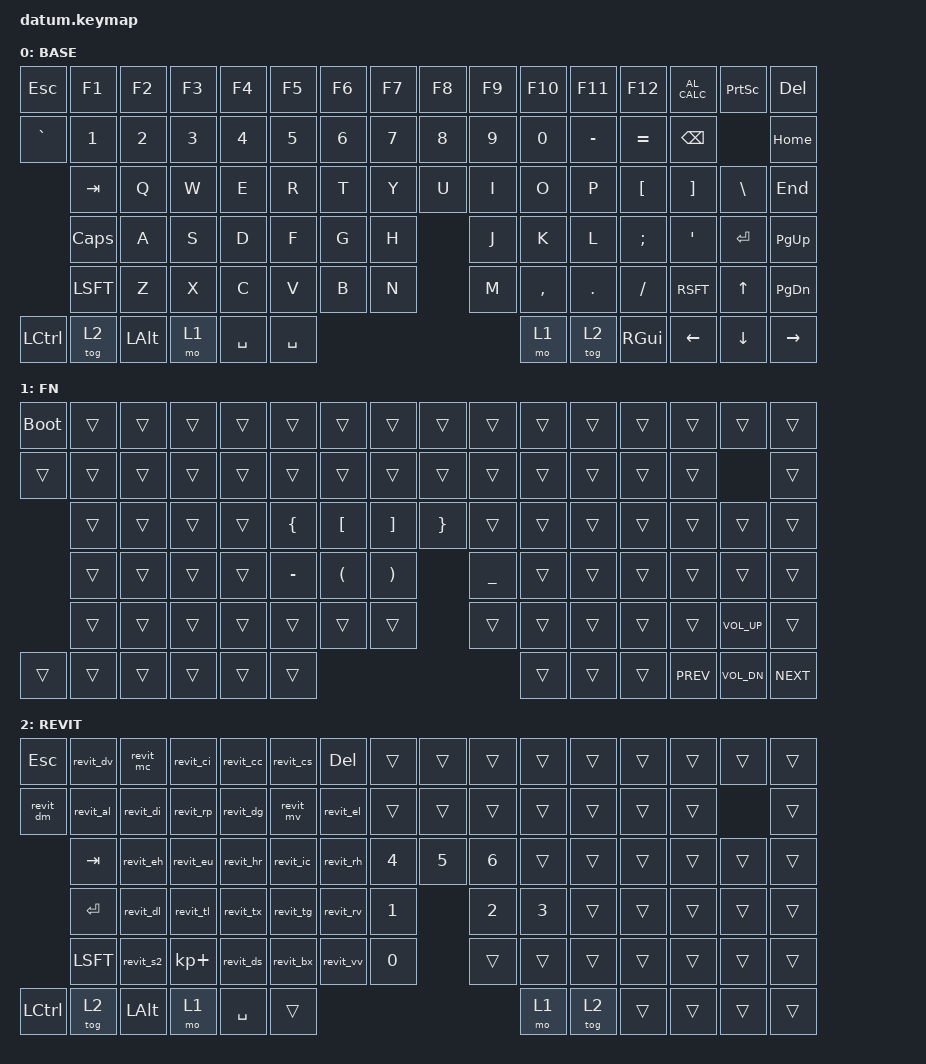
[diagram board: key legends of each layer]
#include <behaviors.dtsi>
#include <dt-bindings/zmk/keys.h>
#include <dt-bindings/zmk/bt.h>

/ {
    macros {
        revit_al: revit_al {
            compatible = "zmk,behavior-macro";
            #binding-cells = <0>;
            bindings = <&kp A &kp L>;
        };
        revit_di: revit_di {
            compatible = "zmk,behavior-macro";
            #binding-cells = <0>;
            bindings = <&kp D &kp I>;
        };
        revit_rp: revit_rp {
            compatible = "zmk,behavior-macro";
            #binding-cells = <0>;
            bindings = <&kp R &kp P>;
        };
        revit_dg: revit_dg {
            compatible = "zmk,behavior-macro";
            #binding-cells = <0>;
            bindings = <&kp D &kp G>;
        };
        revit_mv: revit_mv {
            compatible = "zmk,behavior-macro";
            #binding-cells = <0>;
            bindings = <&kp M &kp V>;
        };
        revit_el: revit_el {
            compatible = "zmk,behavior-macro";
            #binding-cells = <0>;
            bindings = <&kp E &kp L>;
        };
        revit_dm: revit_dm {
            compatible = "zmk,behavior-macro";
            #binding-cells = <0>;
            bindings = <&kp D &kp M>;
        };
        revit_tl: revit_tl {
            compatible = "zmk,behavior-macro";
            #binding-cells = <0>;
            bindings = <&kp T &kp L>;
        };
        revit_ic: revit_ic {
            compatible = "zmk,behavior-macro";
            #binding-cells = <0>;
            bindings = <&kp I &kp C>;
        };
        revit_tx: revit_tx {
            compatible = "zmk,behavior-macro";
            #binding-cells = <0>;
            bindings = <&kp T &kp X>;
        };
        revit_cc: revit_cc {
            compatible = "zmk,behavior-macro";
            #binding-cells = <0>;
            bindings = <&kp C &kp C>;
        };
        revit_eh: revit_eh {
            compatible = "zmk,behavior-macro";
            #binding-cells = <0>;
            bindings = <&kp E &kp H>;
        };
        revit_hr: revit_hr {
            compatible = "zmk,behavior-macro";
            #binding-cells = <0>;
            bindings = <&kp H &kp R>;
        };
        revit_dl: revit_dl {
            compatible = "zmk,behavior-macro";
            #binding-cells = <0>;
            bindings = <&kp D &kp L>;
        };
        revit_tg: revit_tg {
            compatible = "zmk,behavior-macro";
            #binding-cells = <0>;
            bindings = <&kp T &kp G>;
        };
        revit_eu: revit_eu {
            compatible = "zmk,behavior-macro";
            #binding-cells = <0>;
            bindings = <&kp E &kp U>;
        };
        revit_rv: revit_rv {
            compatible = "zmk,behavior-macro";
            #binding-cells = <0>;
            bindings = <&kp R &kp V>;
        };
        revit_s2: revit_s2 {
            compatible = "zmk,behavior-macro";
            #binding-cells = <0>;
            bindings = <&kp S &kp N2>;
        };
        revit_cs: revit_cs {
            compatible = "zmk,behavior-macro";
            #binding-cells = <0>;
            bindings = <&kp C &kp S>;
        };
        revit_dv: revit_dv {
            compatible = "zmk,behavior-macro";
            #binding-cells = <0>;
            bindings = <&kp D &kp V>;
        };
        revit_mc: revit_mc {
            compatible = "zmk,behavior-macro";
            #binding-cells = <0>;
            bindings = <&kp M &kp C>;
        };
        revit_rh: revit_rh {
            compatible = "zmk,behavior-macro";
            #binding-cells = <0>;
            bindings = <&kp R &kp H>;
        };
        revit_ds: revit_ds {
            compatible = "zmk,behavior-macro";
            #binding-cells = <0>;
            bindings = <&kp LS(N4)>;
        };
        revit_ci: revit_ci {
            compatible = "zmk,behavior-macro";
            #binding-cells = <0>;
            bindings = <&kp C &kp I>;
        };
        revit_bx: revit_bx {
            compatible = "zmk,behavior-macro";
            #binding-cells = <0>;
            bindings = <&kp B &kp X>;
        };
        revit_vv: revit_vv {
            compatible = "zmk,behavior-macro";
            #binding-cells = <0>;
            bindings = <&kp V &kp V>;
        };
    };

    keymap {
        compatible = "zmk,keymap";

        base_layer {
            label = "BASE";
            bindings = <
                &kp ESC  &kp F1   &kp F2   &kp F3   &kp F4   &kp F5   &kp F6                                          &kp F7  &kp F8  &kp F9  &kp F10 &kp F11 &kp F12 &kp C_AL_CALC &kp PSCRN &kp DEL
                &kp GRAVE &kp N1  &kp N2   &kp N3   &kp N4   &kp N5   &kp N6                                          &kp N7  &kp N8  &kp N9  &kp N0  &kp MINUS &kp EQUAL &kp BSPC          &kp HOME
                         &kp TAB  &kp Q    &kp W    &kp E    &kp R    &kp T                                  &kp Y    &kp U   &kp I   &kp O   &kp P   &kp LBKT  &kp RBKT  &kp BSLH          &kp END
                         &kp CAPS &kp A    &kp S    &kp D    &kp F    &kp G                                  &kp H    &kp J   &kp K   &kp L   &kp SEMI &kp SQT           &kp RET           &kp PG_UP
                         &kp LSFT &kp Z    &kp X    &kp C    &kp V    &kp B                                  &kp N    &kp M   &kp COMMA &kp DOT &kp FSLH         &kp RSFT          &kp UP    &kp PG_DN
                &kp LCTL &tog 2 &kp LALT &mo 1             &kp SPACE                                                &kp SPACE        &mo 1   &tog 2  &kp RGUI  &kp LEFT          &kp DOWN  &kp RIGHT
            >;
        };

        fn_layer {
            label = "FN";
            bindings = <
                &bootloader &trans &trans &trans &trans &trans &trans                                          &trans  &trans  &trans  &trans  &trans  &trans  &trans &trans &trans
                &trans      &trans &trans &trans &trans &trans &trans                                          &trans  &trans  &trans  &trans  &trans  &trans  &trans         &trans
                            &trans &trans &trans &trans &kp LBRC &kp LBKT                                  &kp RBKT  &kp RBRC  &trans  &trans  &trans  &trans  &trans  &trans         &trans
                            &trans &trans &trans &trans &kp MINUS &kp LPAR                                  &kp RPAR   &kp UNDER  &trans  &trans  &trans  &trans          &trans         &trans
                            &trans &trans &trans &trans &trans &trans                                          &trans   &trans  &trans  &trans  &trans          &trans          &kp C_VOL_UP  &trans
                &trans      &trans &trans &trans       &trans                                                  &trans          &trans  &trans  &trans  &kp C_PREV          &kp C_VOL_DN  &kp C_NEXT
            >;
        };

        revit_layer {
            label = "REVIT";
            bindings = <
                &kp ESC     &revit_dv &revit_mc &revit_ci &revit_cc &revit_cs &kp DEL                          &trans  &trans  &trans  &trans  &trans  &trans  &trans &trans &trans
                &revit_dm   &revit_al &revit_di &revit_rp &revit_dg &revit_mv &revit_el                        &trans  &trans  &trans  &trans  &trans  &trans  &trans         &trans
                            &kp TAB   &revit_eh &revit_eu &revit_hr &revit_ic &revit_rh                &kp N4   &kp N5  &kp N6  &trans  &trans  &trans  &trans  &trans         &trans
                            &kp RET   &revit_dl &revit_tl &revit_tx &revit_tg &revit_rv                &kp N1   &kp N2  &kp N3  &trans  &trans  &trans          &trans         &trans
                            &kp LSFT  &revit_s2 &kp KP_PLUS &revit_ds &revit_bx &revit_vv                &kp N0   &trans  &trans  &trans  &trans          &trans          &trans  &trans
                &kp LCTL    &tog 2  &kp LALT  &mo 1               &kp SPACE                                  &trans          &mo 1  &tog 2  &trans  &trans          &trans  &trans
            >;
        };
    };
};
